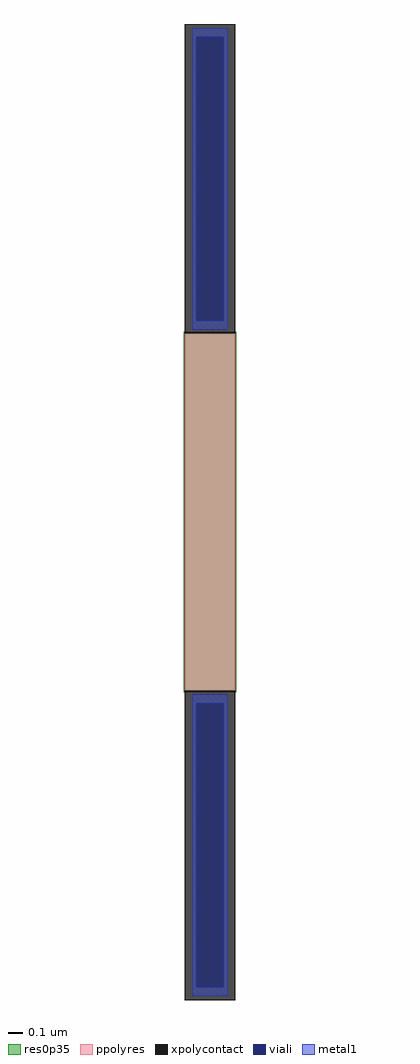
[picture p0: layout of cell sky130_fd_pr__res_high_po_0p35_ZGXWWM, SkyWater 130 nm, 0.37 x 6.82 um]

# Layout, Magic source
magic
tech sky130A
magscale 1 2
<< xpolycontact >>
rect -35 250 35 682
rect -35 -682 35 -250
<< ppolyres >>
rect -35 -250 35 250
<< viali >>
rect -19 267 19 664
rect -19 -664 19 -267
<< metal1 >>
rect -25 664 25 676
rect -25 267 -19 664
rect 19 267 25 664
rect -25 255 25 267
rect -25 -267 25 -255
rect -25 -664 -19 -267
rect 19 -664 25 -267
rect -25 -676 25 -664
<< res0p35 >>
rect -37 -252 37 252
<< properties >>
string gencell sky130_fd_pr__res_high_po_0p35
string library sky130
string parameters w 0.350 l 2.5 m 1 nx 1 wmin 0.350 lmin 0.50 rho 319.8 val 3.397k dummy 0 dw 0.0 term 194.82 sterm 0.0 caplen 0 guard 0 glc 1 grc 1 gtc 1 gbc 1 compatible {sky130_fd_pr__res_high_po_0p35  sky130_fd_pr__res_high_po_0p69 sky130_fd_pr__res_high_po_1p41  sky130_fd_pr__res_high_po_2p85 sky130_fd_pr__res_high_po_5p73} full_metal 1 wmax 0.350 vias 1 n_guard 0 hv_guard 0 viagb 0 viagt 0 viagl 0 viagr 0
<< end >>
